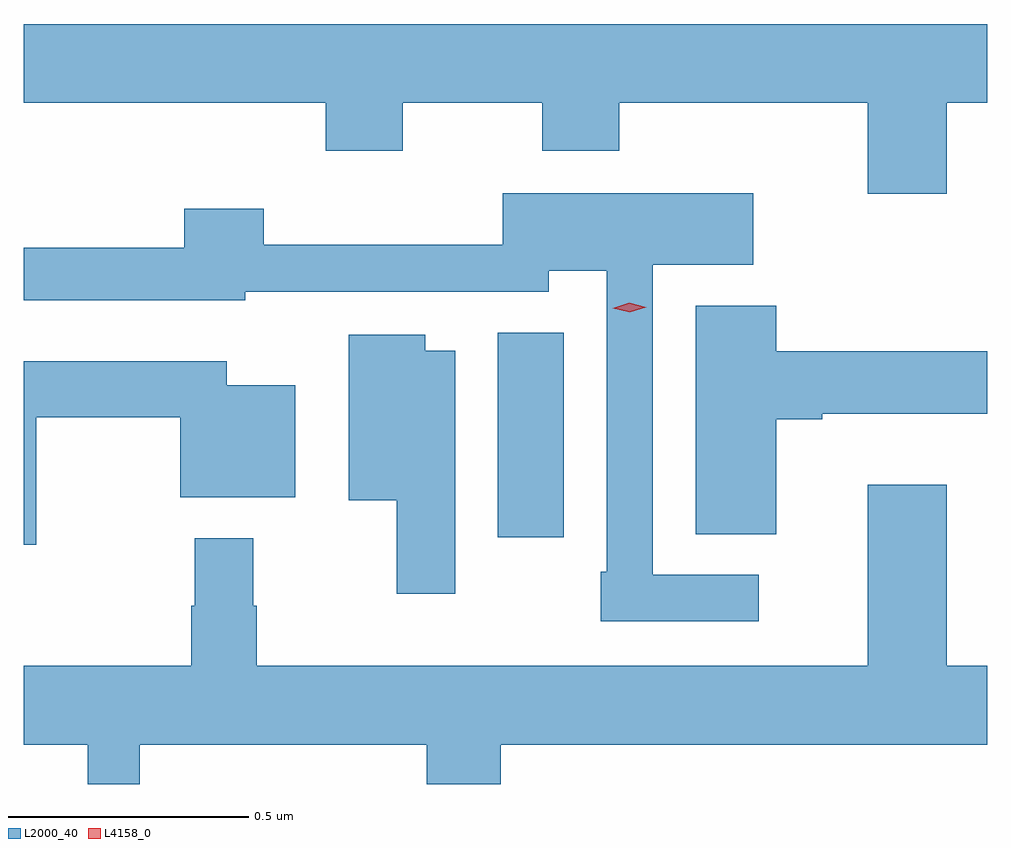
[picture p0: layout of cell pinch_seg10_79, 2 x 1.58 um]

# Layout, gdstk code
import gdstk
lib = gdstk.Library(unit=1e-6, precision=1e-09)
def R(c, l, rs):  # rectangles x0, y0, x1, y1
    for r in rs: c.add(gdstk.rectangle(r[:2], r[2:], *l))
def P(c, l, *ps):  # polygons
    for p in ps: c.add(gdstk.Polygon(p, *l))
L2000_40 = (2000, 40)
L4158_0 = (4158, 0)

pinch_seg10_79 = lib.new_cell('pinch_seg10_79')
R(pinch_seg10_79, L2000_40, [(811.592,1298.082,811.729,1298.507)])
P(pinch_seg10_79, L2000_40, [(812.524,1298.984),(812.608,1298.984),(812.608,1299.148),(810.608,1299.148),(810.608,1298.984),(811.235,1298.984),(811.235,1298.885),(811.395,1298.885),(811.395,1298.984),(811.684,1298.984),(811.684,1298.885),(811.844,1298.885),(811.844,1298.984),(812.36,1298.984),(812.36,1298.796),(812.524,1298.796)],
  [(812.134,1298.004),(811.914,1298.004),(811.914,1298.648),(812.122,1298.648),(812.122,1298.797),(811.602,1298.797),(811.602,1298.69),(811.106,1298.69),(811.106,1298.764),(810.941,1298.764),(810.941,1298.683),(810.608,1298.683),(810.608,1298.574),(811.068,1298.574),(811.068,1298.592),(811.698,1298.592),(811.698,1298.636),(811.818,1298.636),(811.818,1298.011),(811.806,1298.011),(811.806,1297.908),(812.134,1297.908)],
  [(812.17,1298.327),(812.266,1298.327),(812.266,1298.339),(812.608,1298.339),(812.608,1298.469),(812.17,1298.469),(812.17,1298.563),(812.003,1298.563),(812.003,1298.089),(812.17,1298.089)],
  [(811.504,1298.47),(811.441,1298.47),(811.441,1298.503),(811.283,1298.503),(811.283,1298.159),(811.382,1298.159),(811.382,1297.965),(811.504,1297.965)],
  [(810.634,1298.332),(810.933,1298.332),(810.933,1298.165),(811.171,1298.165),(811.171,1298.398),(811.029,1298.398),(811.029,1298.448),(810.608,1298.448),(810.608,1298.067),(810.634,1298.067)],
  [(810.849,1297.652),(811.445,1297.652),(811.445,1297.57),(811.598,1297.57),(811.598,1297.652),(812.608,1297.652),(812.608,1297.816),(812.524,1297.816),(812.524,1298.191),(812.36,1298.191),(812.36,1297.816),(811.091,1297.816),(811.091,1297.94),(811.084,1297.94),(811.084,1298.08),(810.963,1298.08),(810.963,1297.94),(810.955,1297.94),(810.955,1297.816),(810.608,1297.816),(810.608,1297.652),(810.741,1297.652),(810.741,1297.57),(810.849,1297.57)])
P(pinch_seg10_79, L4158_0, [(811.866,1298.549),(811.831,1298.558),(811.83,1298.558),(811.831,1298.558),(811.865,1298.569),(811.9,1298.56),(811.9,1298.56),(811.9,1298.56)])

lib.write_gds('pinch_seg10_79.gds')
